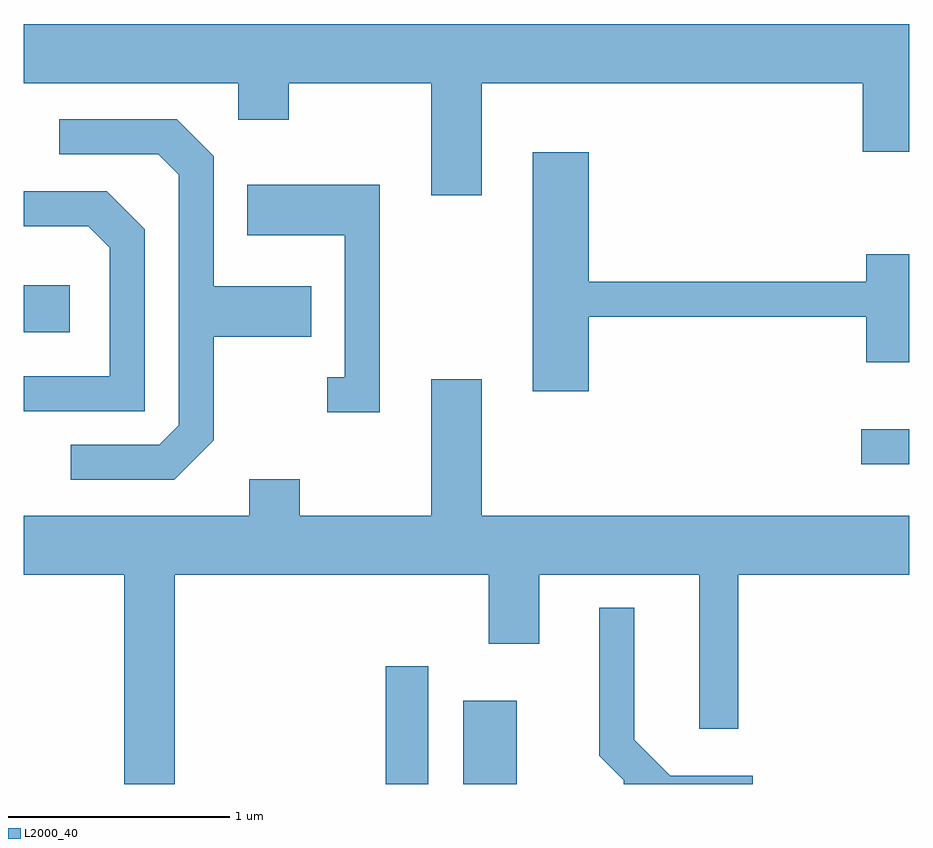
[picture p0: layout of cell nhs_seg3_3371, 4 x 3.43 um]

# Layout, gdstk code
import gdstk
lib = gdstk.Library(unit=1e-6, precision=1e-09)
def R(c, l, rs):  # rectangles x0, y0, x1, y1
    for r in rs: c.add(gdstk.rectangle(r[:2], r[2:], *l))
def P(c, l, *ps):  # polygons
    for p in ps: c.add(gdstk.Polygon(p, *l))
L2000_40 = (2000, 40)

nhs_seg3_3371 = lib.new_cell('nhs_seg3_3371')
R(nhs_seg3_3371, L2000_40, [(285.246,1193.892,285.439,1194.424), (285.596,1193.892,285.839,1194.269), (287.393,1195.336,287.611,1195.494), (283.611,1195.931,283.819,1196.144)])
P(nhs_seg3_3371, L2000_40, [(285.679,1197.056),(287.401,1197.056),(287.401,1196.746),(287.611,1196.746),(287.611,1197.324),(283.611,1197.324),(283.611,1197.056),(284.581,1197.056),(284.581,1196.891),(284.809,1196.891),(284.809,1197.056),(285.451,1197.056),(285.451,1196.551),(285.679,1196.551)],
  [(284.469,1195.444),(284.469,1195.911),(284.909,1195.911),(284.909,1196.139),(284.469,1196.139),(284.469,1196.727),(284.302,1196.894),(283.773,1196.894),(283.773,1196.736),(284.219,1196.736),(284.311,1196.644),(284.311,1195.512),(284.224,1195.424),(283.823,1195.424),(283.823,1195.266),(284.292,1195.266)],
  [(286.164,1196.001),(287.416,1196.001),(287.416,1195.796),(287.611,1195.796),(287.611,1196.284),(287.416,1196.284),(287.416,1196.159),(286.164,1196.159),(286.164,1196.744),(285.911,1196.744),(285.911,1195.666),(286.164,1195.666)],
  [(285.219,1196.599),(284.621,1196.599),(284.621,1196.371),(285.061,1196.371),(285.061,1195.729),(284.983,1195.729),(284.983,1195.571),(285.219,1195.571)],
  [(284.159,1196.397),(283.987,1196.569),(283.611,1196.569),(283.611,1196.411),(283.904,1196.411),(284.001,1196.314),(284.001,1195.734),(283.611,1195.734),(283.611,1195.576),(284.159,1195.576)],
  [(284.294,1194.836),(285.711,1194.836),(285.711,1194.526),(285.939,1194.526),(285.939,1194.836),(286.661,1194.836),(286.661,1194.141),(286.839,1194.141),(286.839,1194.836),(287.611,1194.836),(287.611,1195.104),(285.679,1195.104),(285.679,1195.719),(285.451,1195.719),(285.451,1195.104),(284.859,1195.104),(284.859,1195.269),(284.631,1195.269),(284.631,1195.104),(283.611,1195.104),(283.611,1194.836),(284.066,1194.836),(284.066,1193.892),(284.294,1193.892)],
  [(286.904,1193.929),(286.532,1193.929),(286.369,1194.092),(286.369,1194.688),(286.211,1194.688),(286.211,1194.019),(286.321,1193.909),(286.321,1193.892),(286.904,1193.892)])

lib.write_gds('nhs_seg3_3371.gds')
